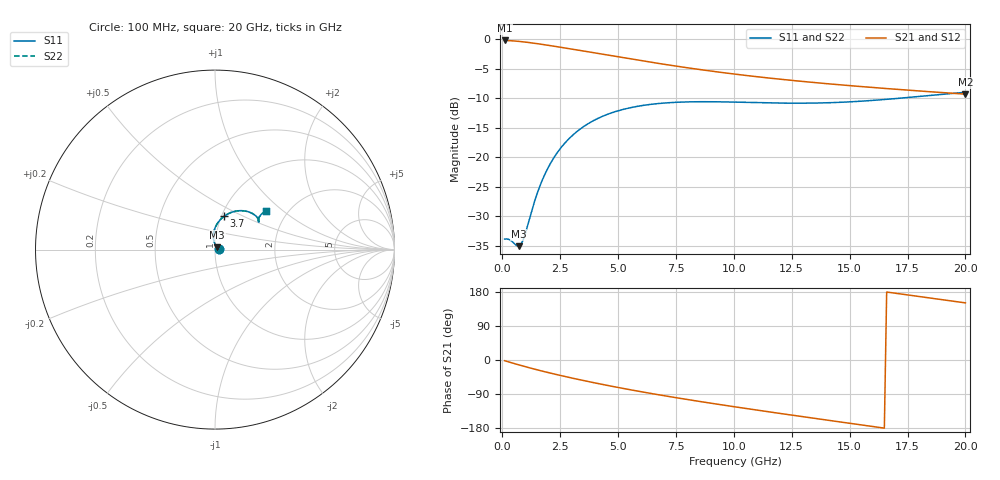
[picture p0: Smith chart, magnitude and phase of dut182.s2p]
! Touchstone file exported from HFSS 2024.1.0
!  File:  C:/UserFiles/LocalFiles/RDL_TSV_Batchsim/temp_RDL_TSV_182_1779439281.aedt
!  Generated:  04:58:16 PM May 22, 2026
!  Design:  RDL_TSV
!  Project:  temp_RDL_TSV_182_1779439281
!  Setup:  Setup1
!  Solution:  Sweep
! Variables:
!  dtsv = 14.87um
!  hbump = 3um
!  htsv = 57.4um
!  ldown = 478.97um
!  lrdl = 384.77um
!  p = 40
!  p1 = 46.41um
!  rhole = 10um
!  subl = 2975.99um
!  t = 450um
!  tdown = 3.21um
!  trdl = 3.37um
!  viad = 10um
!  wdown = 22.27um
!  wrdl = 12.27um
!  xbump = 18um
# GHz S MA R 50.000000
! Terminal data exported
! Port[1] = TM1_1_T1
! Port[2] = TM1_4_T1
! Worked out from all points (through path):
!   200 points, 100 MHz to 20 GHz, reference 50 ohm
!   highest |S21| = -0.18 dB at 100 MHz (marker M1); lowest = -9.3 dB at 20 GHz (marker M2)
!   group delay of S21, straight-line fit = 27.5 ps
!   lowest |S11| = -35.1 dB at 700 MHz (marker M3), VSWR 1.04, Z = 51.3 + j1.25 ohm
!   |S11| at or under -10 dB: start of sweep to 17.13 GHz
!   |S22| runs from -35.1 to -9.0 dB; largest |S21 - S12| = 1.1e-14
!   S11 on the Smith chart (normalised r, x): 100 MHz: 1.04, +0.00; 3.7 GHz: 1.03, +0.40; 20 GHz: 1.56, +0.77
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0.1  0.02019 5.1  0.9793 -1.9  0.9793 -1.9  0.02019 5.1
! Gamma 0 0 0 0
! Port Impedance 50 0 50 0
0.3  0.02001 13.9  0.9757 -5.5  0.9757 -5.5  0.02001 13.9
0.7  0.01758 43.8  0.9623 -12.6  0.9623 -12.6  0.01758 43.8
0.8  0.01813 55.8  0.958 -14.4  0.958 -14.4  0.01814 55.8
0.9  0.01983 67.6  0.9533 -16.1  0.9533 -16.1  0.01984 67.6
1.5  0.0488 97.3  0.9205 -25.8  0.9205 -25.8  0.04879 97.2
1.7  0.062 97.8  0.9084 -28.9  0.9084 -28.9  0.06199 97.8
2  0.08287 96.1  0.8897 -33.4  0.8897 -33.4  0.08284 96.0
2.3  0.1041 92.9  0.8709 -37.8  0.8709 -37.8  0.104 92.8
2.7  0.1317 87.8  0.8459 -43.4  0.8459 -43.4  0.1316 87.7
3.5  0.1813 77.3  0.797 -54.1  0.797 -54.1  0.1811 77.2
3.7  0.1922 74.8  0.7851 -56.7  0.7851 -56.7  0.192 74.7
4.3  0.2211 67.8  0.7502 -64.2  0.7502 -64.2  0.2209 67.7
5  0.2477 60.5  0.7113 -72.5  0.7113 -72.5  0.2474 60.4
6.8  0.2861 46.1  0.6229 -92.3  0.6229 -92.3  0.2858 46.0
8.4  0.2956 38.0  0.5593 -108.2  0.5593 -108.2  0.2952 37.9
10.1  0.2933 33.3  0.5056 -124.1  0.5056 -124.1  0.2929 33.2
11.7  0.2886 32.0  0.4657 -138.4  0.4657 -138.4  0.2881 31.9
13.4  0.2879 32.9  0.4316 -153.2  0.4316 -153.2  0.2872 32.8
15  0.295 34.9  0.4051 -167.0  0.4051 -167.0  0.2942 34.8
16.7  0.3111 36.7  0.3811 178.5  0.3811 178.5  0.3101 36.6
20  0.3558 37.1  0.343 150.7  0.343 150.7  0.3546 36.9
